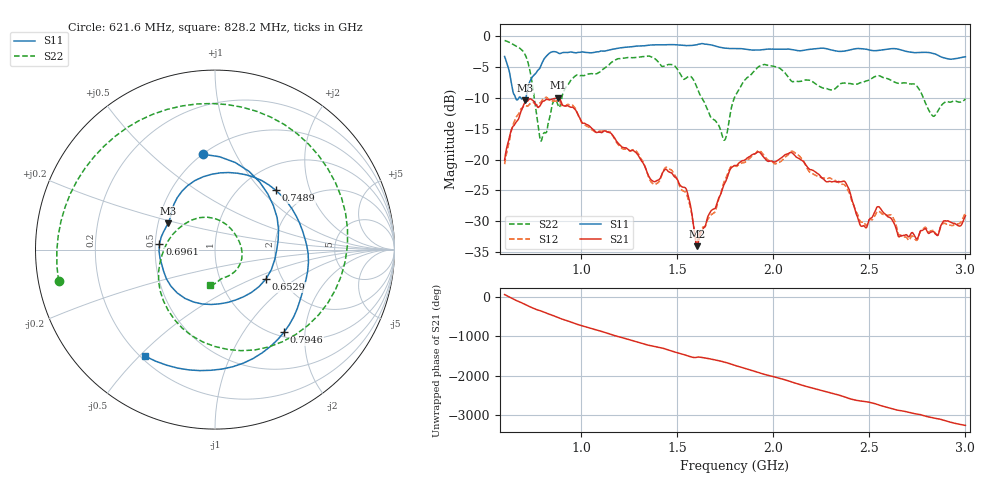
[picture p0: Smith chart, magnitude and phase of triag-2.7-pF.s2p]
#  HZ  S  RI  R  50.00
! Rohde & Schwarz ZVB8 2Ports - Version 2.81 - 1145.1010k08 SN: 100113
! Date: 2016-03-12 01:59:33
! Measurements: S11 S21 S12 S22
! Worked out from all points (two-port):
!   1000 points, 600 MHz to 3 GHz, reference 50 ohm
!   highest |S21| = -9.99 dB at 878.7 MHz (marker M1); lowest = -34.0 dB at 1.602 GHz (marker M2)
!   |S21| within 3 dB of the highest: 677.6 MHz to 985.5 MHz (307.9 MHz wide, 37 % of centre)
!   lowest |S11| = -10.5 dB at 705.7 MHz (marker M3), VSWR 1.86, Z = 28.2 + j9.08 ohm
!   |S11| at or under -10 dB: 656.7 MHz to 675 MHz (18.27 MHz wide, 2.74 % of centre); 683.8 MHz to 711.2 MHz (27.41 MHz wide, 3.93 % of centre)
!   |S22| runs from -17.0 to -0.8 dB; largest |S21 - S12| = 0.035
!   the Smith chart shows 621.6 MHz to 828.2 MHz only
!   S11 on the Smith chart (normalised r, x): 621.6 MHz: 0.50, +0.75; 652.9 MHz: 1.65, -0.61; 696.1 MHz: 0.53, +0.04; 748.9 MHz: 1.42, +1.21; 794.6 MHz: 1.09, -1.56; 828.2 MHz: 0.22, -0.52
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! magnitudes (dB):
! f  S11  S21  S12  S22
! 600 MHz  -3.4  -20.1  -20.7  -0.8
! 621.6 MHz  -5.4  -16.9  -17.5  -1.0
! 652.9 MHz  -9.7  -14.3  -13.7  -1.6
! 696.1 MHz  -10.1  -11.5  -11.5  -2.5
! 705.7 MHz  -10.5  -10.8  -11.2  -3.0
! 748.9 MHz  -6.5  -10.5  -10.8  -8.8
! 794.6 MHz  -4.4  -10.8  -10.4  -16.7
! 828.2 MHz  -3.0  -10.3  -10.2  -14.0
! 878.7 MHz  -2.8  -10.0  -10.5  -11.3
! 1.001 GHz  -2.6  -13.9  -14.0  -6.4
! 1.4 GHz  -1.5  -23.3  -23.7  -4.2
! 1.542 GHz  -1.6  -24.6  -25.2  -6.9
! 1.602 GHz  -1.5  -34.0  -33.4  -8.3
! 1.744 GHz  -2.0  -24.0  -23.6  -16.9
! 1.801 GHz  -2.1  -21.0  -21.0  -9.7
! 1.948 GHz  -2.3  -19.6  -19.2  -4.7
! 2.2 GHz  -2.2  -21.7  -22.2  -7.3
! 2.375 GHz  -2.5  -23.7  -24.3  -7.7
! 2.462 GHz  -2.1  -30.8  -30.1  -7.6
! 2.601 GHz  -2.1  -29.3  -29.0  -7.0
! 2.832 GHz  -2.9  -31.6  -31.4  -13.0
! 3 GHz  -3.4  -29.1  -28.6  -10.2
